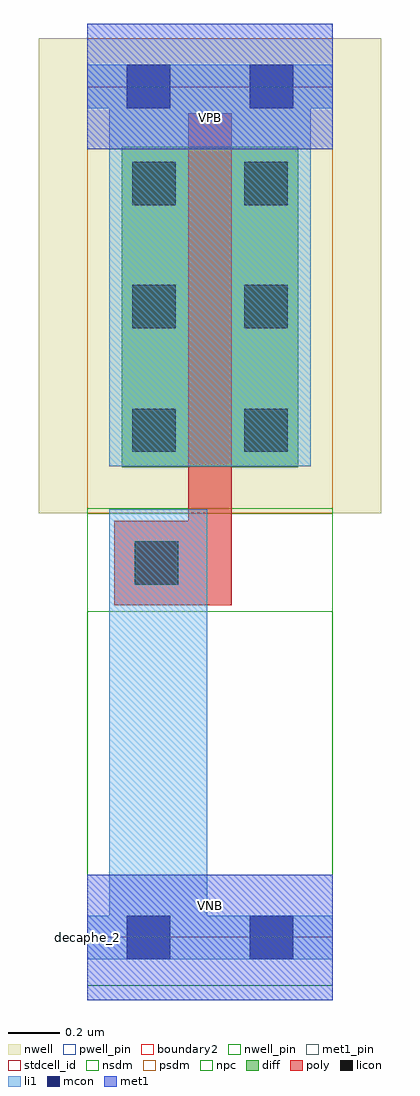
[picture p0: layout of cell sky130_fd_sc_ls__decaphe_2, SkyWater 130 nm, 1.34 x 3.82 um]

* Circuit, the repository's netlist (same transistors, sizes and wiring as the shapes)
* Copyright 2020 The SkyWater PDK Authors
*
* Licensed under the Apache License, Version 2.0 (the "License");
* you may not use this file except in compliance with the License.
* You may obtain a copy of the License at
*
*     https://www.apache.org/licenses/LICENSE-2.0
*
* Unless required by applicable law or agreed to in writing, software
* distributed under the License is distributed on an "AS IS" BASIS,
* WITHOUT WARRANTIES OR CONDITIONS OF ANY KIND, either express or implied.
* See the License for the specific language governing permissions and
* limitations under the License.
*
* SPDX-License-Identifier: Apache-2.0

.SUBCKT sky130_fd_sc_ls__decaphe_2 VGND VNB VPB VPWR
*.PININFO VGND:I VNB:I VPB:I VPWR:I
MI2 VPWR VGND VPWR VPB sky130_fd_pr__pfet_01v8 m=1 w=1.255U l=0.17U mult=1 sa=0.265
+ sb=0.265 sd=0.28 area=0.063 perim=1.14
.ENDS sky130_fd_sc_ls__decaphe_2

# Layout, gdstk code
import gdstk
lib = gdstk.Library(unit=1e-6, precision=1e-09)
def R(c, l, rs):  # rectangles x0, y0, x1, y1
    for r in rs: c.add(gdstk.rectangle(r[:2], r[2:], *l))
def P(c, l, *ps):  # polygons
    for p in ps: c.add(gdstk.Polygon(p, *l))
nwell_pin = (64, 16)
nwell = (64, 20)
diff = (65, 20)
poly = (66, 20)
licon = (66, 44)
li1 = (67, 20)
mcon = (67, 44)
met1_pin = (68, 16)
met1 = (68, 20)
stdcell_id = (81, 4)
nsdm = (93, 44)
psdm = (94, 20)
npc = (95, 20)
pwell_pin = (122, 16)
boundary2 = (236, 0)

sky130_fd_sc_ls__decaphe = lib.new_cell('sky130_fd_sc_ls__decaphe_2')
R(sky130_fd_sc_ls__decaphe, nwell_pin, [(0,3.085,0.96,3.33)])
R(sky130_fd_sc_ls__decaphe, nwell, [(-0.19,1.66,1.15,3.52)])
R(sky130_fd_sc_ls__decaphe, diff, [(0.135,1.84,0.825,3.095)])
P(sky130_fd_sc_ls__decaphe, poly, [(0.565,3.225),(0.395,3.225),(0.395,1.63),(0.105,1.63),(0.105,1.3),(0.565,1.3)])
R(sky130_fd_sc_ls__decaphe, licon, [(0.185,1.38,0.355,1.55), (0.175,1.9,0.345,2.07), (0.615,1.9,0.785,2.07), (0.175,2.385,0.345,2.555), (0.615,2.385,0.785,2.555), (0.175,2.865,0.345,3.035), (0.615,2.865,0.785,3.035)])
P(sky130_fd_sc_ls__decaphe, li1, [(0.96,0.085),(0.47,0.085),(0.47,1.675),(0.085,1.675),(0.085,0.085),(0,0.085),(0,-0.085),(0.96,-0.085)],
  [(0.96,3.415),(0,3.415),(0,3.245),(0.085,3.245),(0.085,1.845),(0.875,1.845),(0.875,3.245),(0.96,3.245)])
R(sky130_fd_sc_ls__decaphe, mcon, [(0.155,-0.085,0.325,0.085), (0.635,-0.085,0.805,0.085), (0.155,3.245,0.325,3.415), (0.635,3.245,0.805,3.415)])
R(sky130_fd_sc_ls__decaphe, met1_pin, [(0,0,0.96,0.245), (0,3.085,0.96,3.33)])
R(sky130_fd_sc_ls__decaphe, met1, [(0,-0.245,0.96,0.245), (0,3.085,0.96,3.575)])
R(sky130_fd_sc_ls__decaphe, stdcell_id, [(0,0,0.96,3.33)])
R(sky130_fd_sc_ls__decaphe, nsdm, [(0,-0.19,0.96,1.66)])
R(sky130_fd_sc_ls__decaphe, psdm, [(0,1.66,0.96,3.52)])
R(sky130_fd_sc_ls__decaphe, npc, [(0,1.275,0.96,1.68)])
R(sky130_fd_sc_ls__decaphe, pwell_pin, [(0,0,0.96,0.245)])
R(sky130_fd_sc_ls__decaphe, boundary2, [(0,0,0.96,3.33)])
sky130_fd_sc_ls__decaphe.add(gdstk.Label('VNB', (0.48,0.123), layer=64, texttype=59))
sky130_fd_sc_ls__decaphe.add(gdstk.Label('VPB', (0.48,3.208), layer=64, texttype=5))
sky130_fd_sc_ls__decaphe.add(gdstk.Label('decaphe_2', (0,0), layer=83, texttype=44))
sky130_fd_sc_ls__decaphe.add(gdstk.Label('VGND', (0.48,0.123), layer=68, texttype=5))
sky130_fd_sc_ls__decaphe.add(gdstk.Label('VPWR', (0.48,3.208), layer=68, texttype=5))

lib.write_gds('sky130_fd_sc_ls__decaphe_2.gds')
